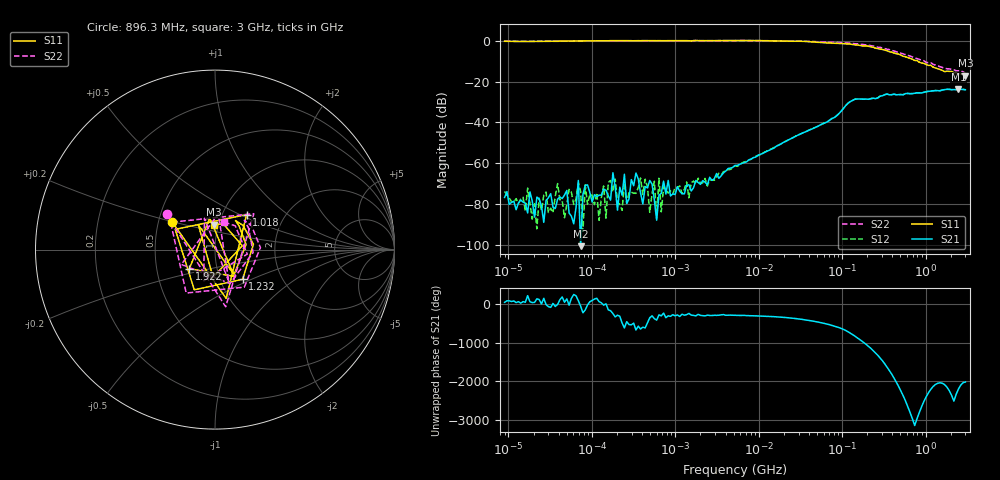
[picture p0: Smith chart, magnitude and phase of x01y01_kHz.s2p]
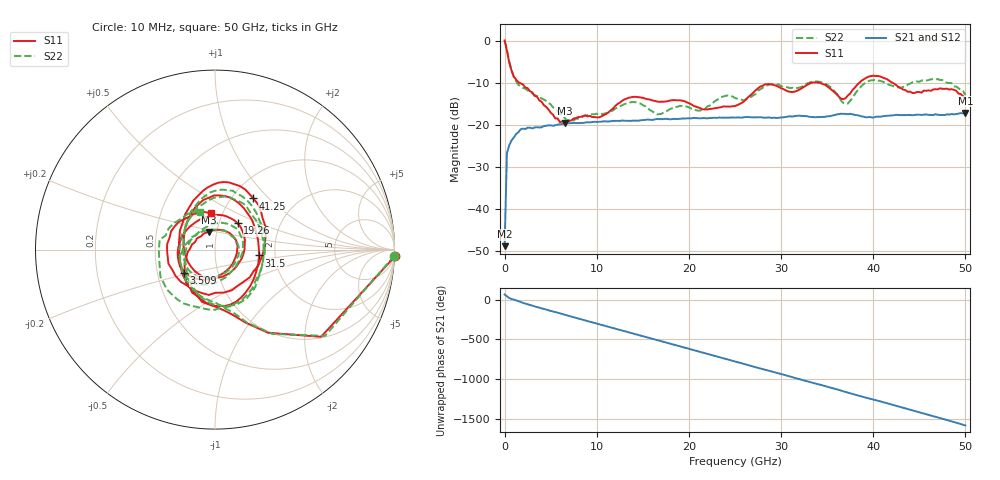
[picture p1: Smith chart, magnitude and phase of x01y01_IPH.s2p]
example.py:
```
os.chdir('X:/emrl/Pool/Bulletin/Witzleben/py-ivtools/scripts/fft_example')

signal_file = 'Signal_PSPL12500_10ns.txt'
data_signal = pd.read_csv(signal_file, delimiter = '\t')
t_signal = data_signal['t_ttx']
v_signal = data_signal['V_ttx']

measurement_file = 'x01y01_PSPL12500_10ns.txt'
data_meas = pd.read_csv(measurement_file, delimiter = '\t')
t_meas = data_meas['t_ttx']
v_meas = data_meas['V_ttx']

time, v_refl, v_trans = calculate_transmission(file = 'x01y01_kHz.s2p',
t_signal = t_signal,
v_signal = v_signal, 
rf_file = 'x01y01_IPH.s2p',
t_meas = t_meas,
v_meas = v_meas,
do_plots = False,
time_shift = 0,
reflection_offset = 0.27)

v_stimuls = v_signal + v_refl
```
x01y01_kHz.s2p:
#  HZ  S  RI  R  50.0
! Rohde & Schwarz ZVL3 2Ports - Version 2.10 - 1303.6509k03 SN: 100567
! Date: 2007-12-13 01:09:34
! Eingang -40dB
! Data & Calibration Information:
! Trc1:S11(TOSM) Trc4:S21(TOSM) Trc3:S12(TOSM) Trc2:S22(TOSM)
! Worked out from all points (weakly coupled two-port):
!   201 points, 9 kHz to 3 GHz, reference 50 ohm
!   highest |S21| = -23.70 dB at 2.479 GHz (marker M1); lowest = -100.5 dB at 73.37 kHz (marker M2)
!   lowest |S11| = -17.1 dB at 3 GHz (marker M3), VSWR 1.32, Z = 47.3 + j13.4 ohm
!   |S11| at or under -10 dB: 809.7 MHz to end of sweep
!   |S22| runs from -15.8 to 0.1 dB; largest |S21 - S12| = 0.00073
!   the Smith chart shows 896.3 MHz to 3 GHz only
!   S11 on the Smith chart (normalised r, x): 896.3 MHz: 0.59, +0.20; 1.018 GHz: 1.30, +0.54; 1.232 GHz: 1.28, -0.44; 1.922 GHz: 0.73, -0.16; 3 GHz: 0.95, +0.27
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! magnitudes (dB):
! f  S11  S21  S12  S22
! 9 kHz  -0.2  -76.7  -73.8  -0.2
! 73.37 kHz  -0.1  -100.5  -73.9  -0.1
! 178.7 kHz  0.1  -64.6  -73.9  0.0
! 679.2 kHz  0.0  -74.7  -83.8  0.0
! 5.537 MHz  0.1  -61.0  -61.5  0.1
! 896.3 MHz  -10.9  -25.5  -25.5  -9.5
! 1.018 GHz  -11.6  -24.9  -24.9  -10.6
! 1.232 GHz  -12.9  -24.5  -24.5  -11.5
! 1.922 GHz  -15.0  -23.8  -23.8  -13.8
! 2.479 GHz  -16.2  -23.7  -23.7  -14.7
! 3 GHz  -17.1  -24.0  -24.0  -15.8
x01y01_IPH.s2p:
!Agilent Technologies,N5245A,MY49151005,A.09.50.10
!Agilent N5245A: A.09.50.10
!Date: Thursday, December 20, 2018 18:15:24
!Correction: S11(Full 2 Port(1,2))
!S21(Full 2 Port(1,2))
!S12(Full 2 Port(1,2))
!S22(Full 2 Port(1,2))
!S2P File: Measurements: S11, S21, S12, S22:
# Hz S  RI  R 50
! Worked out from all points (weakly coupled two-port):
!   201 points, 10 MHz to 50 GHz, reference 50 ohm
!   highest |S21| = -17.21 dB at 50 GHz (marker M1); lowest = -48.9 dB at 10 MHz (marker M2)
!   lowest |S11| = -19.6 dB at 6.509 GHz (marker M3), VSWR 1.23, Z = 45.7 + j9.07 ohm
!   |S11| at or under -10 dB: 1.598 GHz to 33.4 GHz (31.8 GHz wide, 182 % of centre); 34 GHz to 38.51 GHz (4.505 GHz wide, 12.4 % of centre); 42.06 GHz to end of sweep
!   |S22| runs from -19.2 to 0.0 dB; largest |S21 - S12| = 0.0028
!   S11 on the Smith chart (normalised r, x): 10 MHz: -8, -55; 3.509 GHz: 0.68, -0.19; 19.26 GHz: 1.23, +0.37; 31.5 GHz: 1.65, -0.12; 41.25 GHz: 1.25, +0.82; 50 GHz: 0.89, +0.37
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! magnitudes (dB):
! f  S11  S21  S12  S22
! 10 MHz  0.0  -48.9  -52.4  0.0
! 259.9 MHz  -2.3  -26.8  -26.8  -2.2
! 1.26 GHz  -9.3  -22.2  -22.2  -9.7
! 3.509 GHz  -13.3  -20.6  -20.6  -13.2
! 6.509 GHz  -19.6  -19.8  -19.8  -18.3
! 19.26 GHz  -14.3  -18.5  -18.6  -15.6
! 25 GHz  -15.6  -18.3  -18.3  -13.6
! 31.5 GHz  -12.1  -17.9  -17.8  -11.4
! 37.25 GHz  -13.0  -17.5  -17.5  -15.0
! 41.25 GHz  -9.0  -17.9  -17.9  -9.9
! 50 GHz  -13.9  -17.2  -17.2  -12.9
